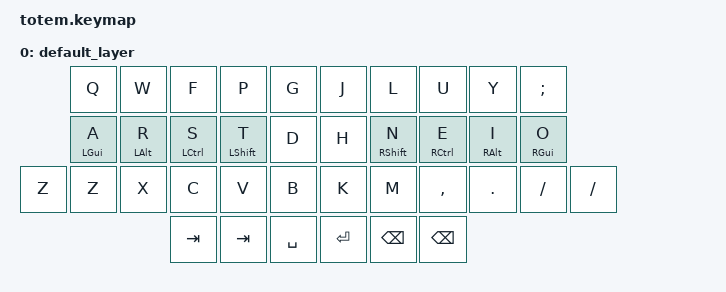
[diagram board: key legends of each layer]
#include <behaviors.dtsi>
#include <dt-bindings/zmk/keys.h>

&mt {
  quick-tap-ms = <100>;
  global-quick-tap;
  flavor = "tap-preferred";
  tapping-term-ms = <170>;
};

/ {
    keymap {
        compatible = "zmk,keymap";

        default_layer { // Layer 0
            bindings = <
              &kp Q       &kp W       &kp F       &kp P       &kp G           &kp J       &kp L       &kp U       &kp Y       &kp SEMI
                &mt LGUI A  &mt LALT R  &mt LCTRL S &mt LSHFT T &kp D           &kp H       &mt RSHFT N &mt RCTRL E &mt RALT I  &mt RGUI O
    &kp Z       &kp Z       &kp X       &kp C       &kp V       &kp B           &kp K       &kp M       &kp COMMA   &kp DOT     &kp FSLH    &kp FSLH
                                        &kp TAB     &kp TAB     &kp SPACE   &kp RET &kp BSPC    &kp BSPC
            >;
        };
    };
 };
